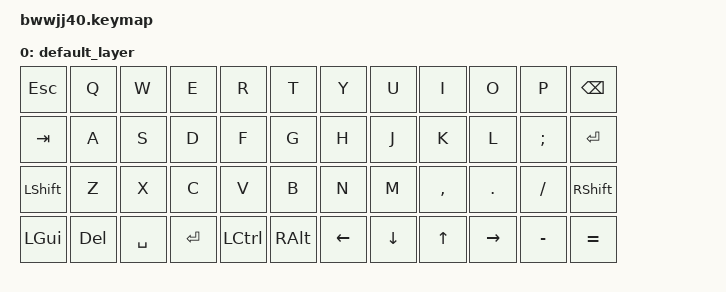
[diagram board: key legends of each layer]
#include <behaviors.dtsi>
#include <dt-bindings/zmk/keys.h>

/ {
    keymap {
        compatible = "zmk,keymap";

        default_layer {
            bindings = <
                    &kp ESC    &kp Q    &kp W    &kp E     &kp R     &kp T     &kp Y     &kp U     &kp I     &kp O     &kp P     &kp BSPC
                    &kp TAB    &kp A    &kp S    &kp D     &kp F     &kp G     &kp H     &kp J     &kp K     &kp L     &kp SCLN  &kp RET
                    &kp LSHIFT &kp Z    &kp X    &kp C     &kp V     &kp B     &kp N     &kp M     &kp COMMA &kp DOT   &kp SLASH &kp RSHIFT
                    &kp LGUI   &kp DEL  &kp SPACE &kp RET  &kp LCTRL &kp RALT  &kp LEFT  &kp DOWN  &kp UP    &kp RIGHT &kp MINUS &kp EQUAL
                >;
        };
    };
};
